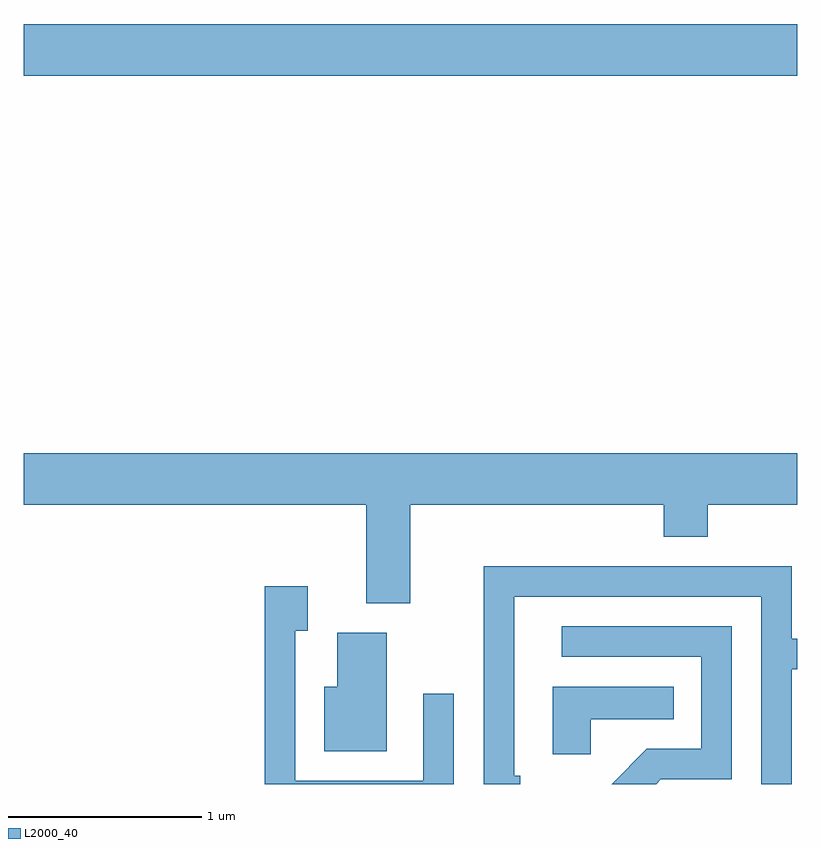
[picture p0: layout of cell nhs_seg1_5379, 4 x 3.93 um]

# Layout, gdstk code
import gdstk
lib = gdstk.Library(unit=1e-6, precision=1e-09)
def R(c, l, rs):  # rectangles x0, y0, x1, y1
    for r in rs: c.add(gdstk.rectangle(r[:2], r[2:], *l))
def P(c, l, *ps):  # polygons
    for p in ps: c.add(gdstk.Polygon(p, *l))
L2000_40 = (2000, 40)

nhs_seg1_5379 = lib.new_cell('nhs_seg1_5379')
R(nhs_seg1_5379, L2000_40, [(347.611,877.376,351.611,877.644)])
P(nhs_seg1_5379, L2000_40, [(347.611,875.156),(349.381,875.156),(349.381,874.646),(349.609,874.646),(349.609,875.156),(350.921,875.156),(350.921,874.991),(351.149,874.991),(351.149,875.156),(351.611,875.156),(351.611,875.424),(347.611,875.424)],
  [(350.179,873.754),(350.149,873.754),(350.149,874.681),(351.426,874.681),(351.426,873.712),(351.584,873.712),(351.584,874.306),(351.611,874.306),(351.611,874.464),(351.584,874.464),(351.584,874.839),(349.991,874.839),(349.991,873.712),(350.179,873.712)],
  [(349.834,874.178),(349.676,874.178),(349.676,873.729),(349.014,873.729),(349.014,874.506),(349.079,874.506),(349.079,874.734),(348.856,874.734),(348.856,873.712),(349.834,873.712)],
  [(350.907,873.736),(351.274,873.736),(351.274,874.529),(350.393,874.529),(350.393,874.371),(351.116,874.371),(351.116,873.894),(350.834,873.894),(350.652,873.712),(350.883,873.712)],
  [(349.489,874.494),(349.231,874.494),(349.231,874.214),(349.166,874.214),(349.166,873.881),(349.489,873.881)],
  [(350.544,874.046),(350.973,874.046),(350.973,874.214),(350.346,874.214),(350.346,873.866),(350.544,873.866)])

lib.write_gds('nhs_seg1_5379.gds')
